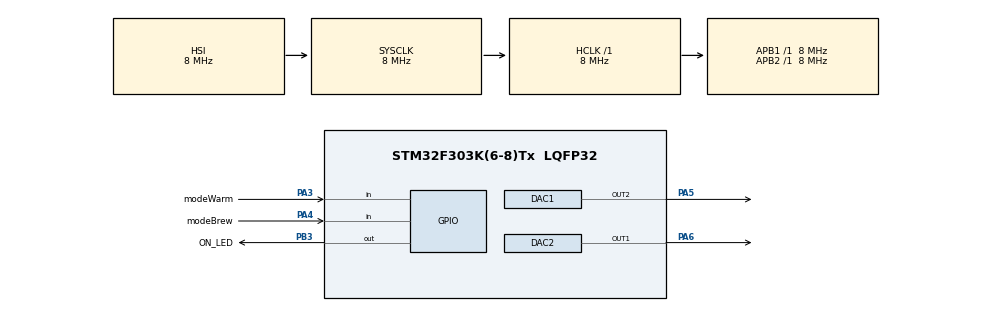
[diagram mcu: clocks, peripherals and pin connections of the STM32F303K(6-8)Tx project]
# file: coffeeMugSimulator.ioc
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Mcu.Family=STM32F3
Mcu.Name=STM32F303K(6-8)Tx
Mcu.Package=LQFP32
NVIC.PriorityGroup=NVIC_PRIORITYGROUP_4
PA3.GPIO_Label=modeWarm
PA3.GPIO_PuPd=GPIO_PULLUP
PA3.Signal=GPIO_Input
PA4.GPIO_Label=modeBrew
PA4.GPIO_PuPd=GPIO_PULLUP
PA4.Signal=GPIO_Input
PA5.Signal=COMP_DAC12_group
PA6.Signal=COMP_DAC21_group
PB3.GPIO_Label=ON_LED
PB3.Signal=GPIO_Output
ProjectManager.HeapSize=0x200
ProjectManager.StackSize=0x400
ProjectManager.TargetToolchain=STM32CubeIDE
RCC.AHBFreq_Value=8000000
RCC.APB1Freq_Value=8000000
RCC.APB2Freq_Value=8000000
RCC.CortexFreq_Value=8000000
RCC.HSE_VALUE=8000000
RCC.HSI_VALUE=8000000
RCC.SYSCLKFreq_VALUE=8000000
SH.COMP_DAC12_group.0=DAC1_OUT2,DAC_OUT2
SH.COMP_DAC21_group.0=DAC2_OUT1,Switch_Enable_OUT1
board=custom

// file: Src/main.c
/* USER CODE BEGIN Header */
/**
  ******************************************************************************
  * @file           : main.c
  * @brief          : Main program body
  ******************************************************************************
  * @attention
  *
  * <h2><center>&copy; Copyright (c) 2020 STMicroelectronics.
  * All rights reserved.</center></h2>
  *
  * This software component is licensed by ST under BSD 3-Clause license,
  * the "License"; You may not use this file except in compliance with the
  * License. You may obtain a copy of the License at:
  *                        opensource.org/licenses/BSD-3-Clause
  *
  ******************************************************************************
  */
/* USER CODE END Header */

#include "main.h"

/* USER CODE BEGIN PD */

#define SIMULATION_TIME_FACTOR 2 //Accelerates simulation time

#define GET_WARM_MODE !HAL_GPIO_ReadPin(modeWarm_GPIO_Port, modeWarm_Pin)
#define GET_BREW_MODE !HAL_GPIO_ReadPin(modeBrew_GPIO_Port, modeBrew_Pin)

#define SET_SIMULATOR_ON_LED(enable) HAL_GPIO_WritePin(ON_LED_GPIO_Port, ON_LED_Pin, enable)

#define SET_SIM_LEVEL(data) HAL_DAC_SetValue(&hdac1, DAC_CHANNEL_2, DAC_ALIGN_12B_R, data)
#define SET_SIM_THERM(data) HAL_DAC_SetValue(&hdac2, DAC_CHANNEL_1, DAC_ALIGN_12B_R, data)

//Level DAC is calibrated for 24 oz MAX (Full Scale)
#define LEVEL_STEP (2 * SIMULATION_TIME_FACTOR) //= 3.4 minutes to brew 16 oz (FULL)
#define LEVEL_MAX (4096*22/24) //22 oz (high level safety limit)

//Thermal DAC is calibrated for 0degC to 100degC
#define WARM_STEP (1 * SIMULATION_TIME_FACTOR) //Heats at 600 DAC steps/min or = 15degC/min
#define COOL_STEP (.5 * SIMULATION_TIME_FACTOR) //Cools at 300 DAC steps/min or = 7.5degC/min
#define THERM_MAX (4096*.64) //(64*4096) 64 degC (high temperature safety limit)
#define THERM_MIN (4096*.20) //(20*4096) 20 degF (low room temp, or start temp)

/* USER CODE END PD */

DAC_HandleTypeDef hdac1;
DAC_HandleTypeDef hdac2;

void SystemClock_Config(void);
static void MX_GPIO_Init(void);
static void MX_DAC1_Init(void);
static void MX_DAC2_Init(void);

int main(void)
{

  /* MCU Configuration--------------------------------------------------------*/

  /* Reset of all peripherals, Initializes the Flash interface and the Systick. */
  HAL_Init();

  /* Configure the system clock */
  SystemClock_Config();

  /* Initialize all configured peripherals */
  MX_GPIO_Init();
  MX_DAC1_Init();
  MX_DAC2_Init();
  /* USER CODE BEGIN 2 */

  SET_SIM_LEVEL(0);
  SET_SIM_THERM(0);
  HAL_DAC_Start(&hdac1, DAC_CHANNEL_2);
  HAL_DAC_Start(&hdac2, DAC_CHANNEL_1);
  SET_SIMULATOR_ON_LED(0);

  /* USER CODE END 2 */

  /* Infinite loop */
  /* USER CODE BEGIN WHILE */

  uint32_t coffeeLevel = 0;
  uint32_t coffeeTherm = THERM_MIN;
  uint32_t brewMode = 0;
  uint32_t warmMode = 0;
  uint32_t resetArm = 1;

  while (1)
  {
    brewMode=GET_BREW_MODE;
    warmMode=GET_WARM_MODE;

    //Reset occurs when both GET_BREW_MODE & GET_WARM_MODE transition from OFF to ON
    if((!brewMode) && (!warmMode))
    {
      resetArm = 1;
    }

    if((brewMode) && (warmMode) && (resetArm))
    {
      resetArm = 0;
      coffeeLevel = 0;
      coffeeTherm = THERM_MIN;
      SET_SIMULATOR_ON_LED(0);
      HAL_Delay(1000);
      SET_SIMULATOR_ON_LED(1);
    }

    SET_SIM_LEVEL(coffeeLevel);
    SET_SIM_THERM(coffeeTherm);

    //The simulator will start filling the coffee mug at a fixed rate when the Brew LED is ON.
    //When the coffee maker determines that the fill level has been met it turns off the Brew LED.
    //Then the simulator will hold the level until the simulator is reset.
    if(brewMode)
    {
      if(coffeeLevel < LEVEL_MAX)
        coffeeLevel += LEVEL_STEP;
    }

    if(warmMode)
    {
      if(coffeeTherm < THERM_MAX)
        coffeeTherm += WARM_STEP;
    }
    else
    {
      if(coffeeTherm > THERM_MIN)
        coffeeTherm -= COOL_STEP;
    }

    HAL_Delay(100);

    /* USER CODE END WHILE */

  }
}

void SystemClock_Config(void)
{
  RCC_OscInitTypeDef RCC_OscInitStruct = {0};
  RCC_ClkInitTypeDef RCC_ClkInitStruct = {0};

  /** Initializes the CPU, AHB and APB busses clocks
  */
  RCC_OscInitStruct.OscillatorType = RCC_OSCILLATORTYPE_HSI;
  RCC_OscInitStruct.HSIState = RCC_HSI_ON;
  RCC_OscInitStruct.HSICalibrationValue = RCC_HSICALIBRATION_DEFAULT;
  RCC_OscInitStruct.PLL.PLLState = RCC_PLL_NONE;
  if (HAL_RCC_OscConfig(&RCC_OscInitStruct) != HAL_OK)
  {
    Error_Handler();
  }
  /** Initializes the CPU, AHB and APB busses clocks
  */
  RCC_ClkInitStruct.ClockType = RCC_CLOCKTYPE_HCLK|RCC_CLOCKTYPE_SYSCLK
                              |RCC_CLOCKTYPE_PCLK1|RCC_CLOCKTYPE_PCLK2;
  RCC_ClkInitStruct.SYSCLKSource = RCC_SYSCLKSOURCE_HSI;
  RCC_ClkInitStruct.AHBCLKDivider = RCC_SYSCLK_DIV1;
  RCC_ClkInitStruct.APB1CLKDivider = RCC_HCLK_DIV1;
  RCC_ClkInitStruct.APB2CLKDivider = RCC_HCLK_DIV1;

  if (HAL_RCC_ClockConfig(&RCC_ClkInitStruct, FLASH_LATENCY_0) != HAL_OK)
  {
    Error_Handler();
  }
}

static void MX_DAC1_Init(void)
{

  DAC_ChannelConfTypeDef sConfig = {0};

  /** DAC Initialization
  */
  hdac1.Instance = DAC1;
  if (HAL_DAC_Init(&hdac1) != HAL_OK)
  {
    Error_Handler();
  }
  /** DAC channel OUT2 config
  */
  sConfig.DAC_Trigger = DAC_TRIGGER_NONE;
  sConfig.DAC_OutputSwitch = DAC_OUTPUTSWITCH_ENABLE;
  if (HAL_DAC_ConfigChannel(&hdac1, &sConfig, DAC_CHANNEL_2) != HAL_OK)
  {
    Error_Handler();
  }

}

static void MX_DAC2_Init(void)
{

  DAC_ChannelConfTypeDef sConfig = {0};

  /** DAC Initialization
  */
  hdac2.Instance = DAC2;
  if (HAL_DAC_Init(&hdac2) != HAL_OK)
  {
    Error_Handler();
  }
  /** DAC channel OUT1 config
  */
  sConfig.DAC_Trigger = DAC_TRIGGER_NONE;
  sConfig.DAC_OutputSwitch = DAC_OUTPUTSWITCH_ENABLE;
  if (HAL_DAC_ConfigChannel(&hdac2, &sConfig, DAC_CHANNEL_1) != HAL_OK)
  {
    Error_Handler();
  }

}

static void MX_GPIO_Init(void)
{
  GPIO_InitTypeDef GPIO_InitStruct = {0};

  /* GPIO Ports Clock Enable */
  __HAL_RCC_GPIOA_CLK_ENABLE();
  __HAL_RCC_GPIOB_CLK_ENABLE();

  /*Configure GPIO pin Output Level */
  HAL_GPIO_WritePin(ON_LED_GPIO_Port, ON_LED_Pin, GPIO_PIN_RESET);

  /*Configure GPIO pins : modeWarm_Pin modeBrew_Pin */
  GPIO_InitStruct.Pin = modeWarm_Pin|modeBrew_Pin;
  GPIO_InitStruct.Mode = GPIO_MODE_INPUT;
  GPIO_InitStruct.Pull = GPIO_PULLUP;
  HAL_GPIO_Init(GPIOA, &GPIO_InitStruct);

  /*Configure GPIO pin : ON_LED_Pin */
  GPIO_InitStruct.Pin = ON_LED_Pin;
  GPIO_InitStruct.Mode = GPIO_MODE_OUTPUT_PP;
  GPIO_InitStruct.Pull = GPIO_NOPULL;
  GPIO_InitStruct.Speed = GPIO_SPEED_FREQ_LOW;
  HAL_GPIO_Init(ON_LED_GPIO_Port, &GPIO_InitStruct);

}

void Error_Handler(void)
{
}

/************************ (C) COPYRIGHT STMicroelectronics *****END OF FILE****/
